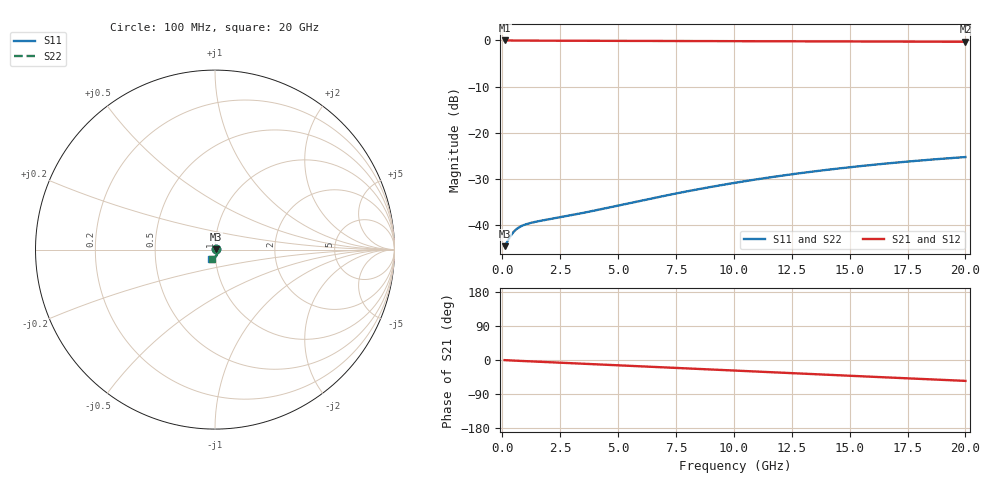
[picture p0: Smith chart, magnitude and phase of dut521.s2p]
! Touchstone file exported from HFSS 2026.1.0
!  File:  C:/ffzhzh/LocalFiles/Ansys_Project_Files/temp_train_TMRDL_521_1783007106_46388.aedt
!  Generated:  11:46:55 PM Jul  2, 2026
!  Design:  TMRDL
!  Project:  temp_train_TMRDL_521_1783007106_46388
! Variables:
!  h_bsmrdl = 2um
!  h_ox = 20um
!  h_rdl = 5um
!  h_sub = 80um
!  h_tmrdl = 3.12um
!  h_tsv = 80um
!  h_via = 3um
!  l_bsmrdl = 300um
!  l_sub = 1390.42um
!  l_tmrdl = 990.42um
!  m_sub = 200um
!  pitch = 22.87um
!  r_tsv = 6um
!  s_tmrdl = 10um
!  w_bsmrdl = 18um
!  w_sub = 500um
!  w_tmrdl = 19.91um
!  x_tsv_center1 = 1000.375um
!  x_tsv_center2 = 1318.375um
!  x_tsv_center3 = 2328.705um
!  x_tsv_center4 = 2646.705um
!  x_tsv_center5 = 3657.035um
!  x_tsv_center6 = 3975.035um
# GHz S MA R 50.000000
! Terminal data exported
! Port[1] = TM_RDL1_1_T1
! Port[2] = TM_RDL1_1_T2
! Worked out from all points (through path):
!   200 points, 100 MHz to 20 GHz, reference 50 ohm
!   highest |S21| = -0.05 dB at 100 MHz (marker M1); lowest = -0.3 dB at 20 GHz (marker M2)
!   group delay of S21, straight-line fit = 7.63 ps
!   lowest |S11| = -44.5 dB at 100 MHz (marker M3), VSWR 1.01, Z = 50.6 + j0.0853 ohm
!   |S11| at or under -10 dB: start of sweep to end of sweep
!   |S22| runs from -44.5 to -25.2 dB; largest |S21 - S12| = 2.2e-15
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0.1  0.005979 8.1  0.9941 -0.3  0.9941 -0.3  0.005979 8.1
! Gamma 0 0 0 0
! Port Impedance 50 0 50 0
0.2  0.006585 13.2  0.9936 -0.7  0.9936 -0.7  0.006585 13.2
0.3  0.007314 15.1  0.9929 -1.0  0.9929 -1.0  0.007314 15.1
0.4  0.008005 14.9  0.9922 -1.3  0.9922 -1.3  0.008004 14.9
0.5  0.008594 13.5  0.9916 -1.6  0.9916 -1.6  0.008593 13.5
0.6  0.009076 11.7  0.9911 -1.9  0.9911 -1.9  0.009075 11.7
0.7  0.009464 9.8  0.9907 -2.1  0.9907 -2.1  0.009463 9.8
0.8  0.00978 7.8  0.9903 -2.4  0.9903 -2.4  0.009778 7.8
0.9  0.01004 5.9  0.99 -2.7  0.99 -2.7  0.01004 5.9
1.2  0.01062 0.7  0.9894 -3.5  0.9894 -3.5  0.01061 0.7
1.5  0.01104 -3.7  0.9889 -4.4  0.9889 -4.4  0.01104 -3.7
3.5  0.01369 -24.8  0.9867 -10.0  0.9867 -10.0  0.01368 -24.7
5.1  0.0166 -37.5  0.9845 -14.5  0.9845 -14.5  0.0166 -37.4
6.8  0.02041 -49.1  0.9819 -19.2  0.9819 -19.2  0.02041 -48.9
8.5  0.02472 -59.4  0.9791 -23.9  0.9791 -23.9  0.02472 -59.1
10.1  0.02904 -68.1  0.9764 -28.3  0.9764 -28.3  0.02903 -67.8
11.7  0.03347 -76.2  0.9739 -32.7  0.9739 -32.7  0.03346 -75.9
13.4  0.03818 -84.2  0.9712 -37.3  0.9712 -37.3  0.03816 -83.8
15  0.04252 -91.2  0.9689 -41.6  0.9689 -41.6  0.0425 -90.8
16.7  0.04696 -98.3  0.9665 -46.2  0.9665 -46.2  0.04693 -97.8
18.3  0.0509 -104.7  0.9643 -50.5  0.9643 -50.5  0.05086 -104.1
20  0.0548 -111.1  0.9621 -55.1  0.9621 -55.1  0.05475 -110.5
